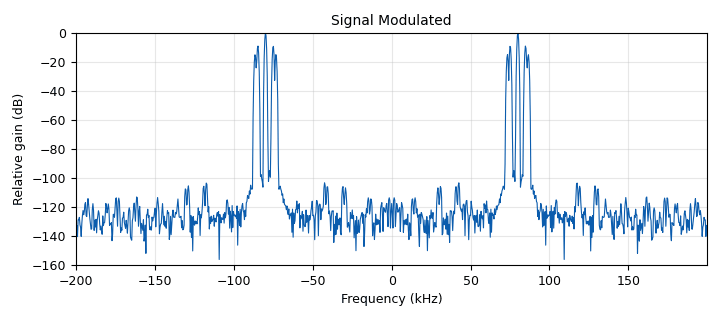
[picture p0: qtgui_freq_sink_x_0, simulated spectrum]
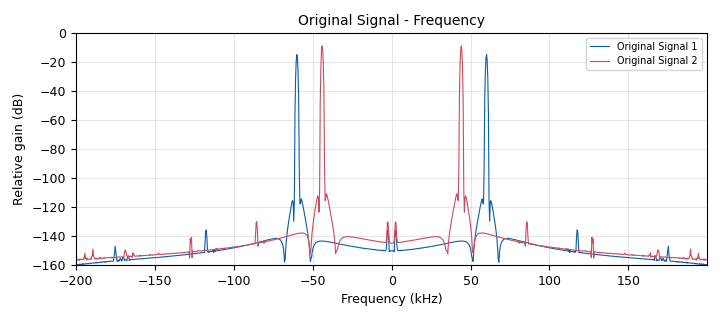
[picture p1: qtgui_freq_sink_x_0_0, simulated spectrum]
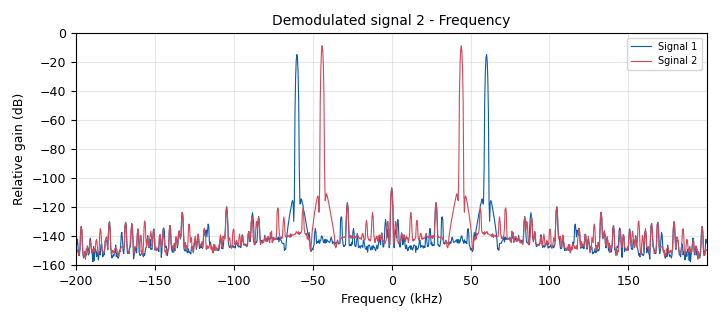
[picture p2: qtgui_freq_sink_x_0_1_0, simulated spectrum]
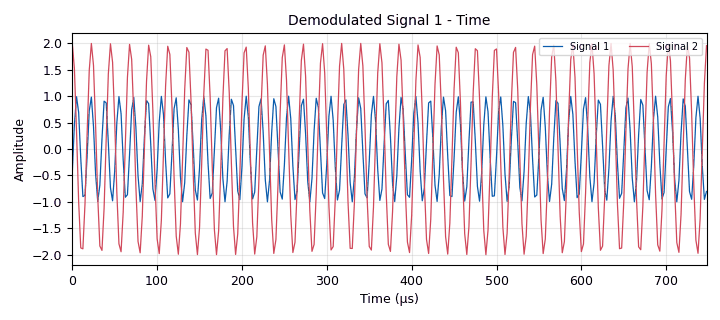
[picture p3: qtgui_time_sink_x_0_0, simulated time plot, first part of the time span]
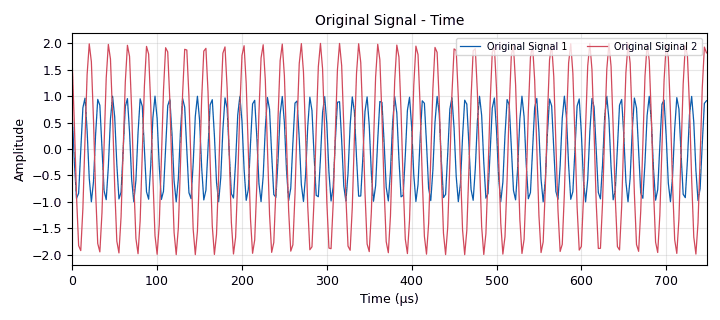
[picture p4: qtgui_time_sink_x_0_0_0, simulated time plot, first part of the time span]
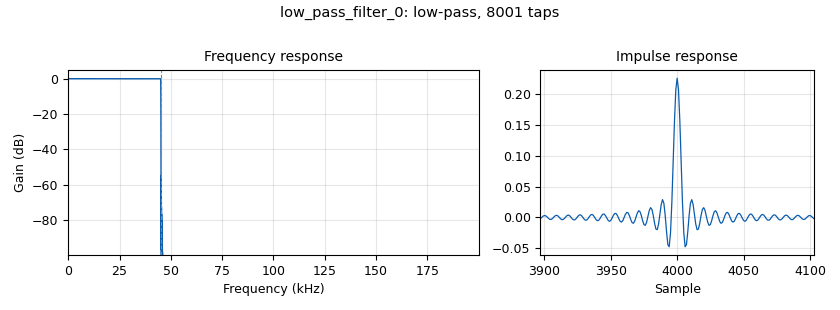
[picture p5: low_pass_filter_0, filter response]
<?xml version='1.0' encoding='utf-8'?>
<?grc format='1' created='3.7.9'?>
<flow_graph>
<block>
<key>options</key>
<param><key>id</key><value>loopback_qam</value></param>
<param><key>author</key><value>Hugo Soares</value></param>
<param><key>category</key><value>Custom</value></param>
<param><key>generate_options</key><value>qt_gui</value></param>
<param><key>title</key><value>"Loopback QAM Modulation"</value></param>
</block>
<block>
<key>variable</key>
<param><key>id</key><value>samp_rate</value></param>
<param><key>value</key><value>400000</value></param>
</block>
<block>
<key>analog_sig_source_x</key>
<param><key>id</key><value>analog_sig_source_x_0</value></param>
<param><key>amp</key><value>2</value></param>
<param><key>freq</key><value>0</value></param>
<param><key>offset</key><value>0</value></param>
<param><key>type</key><value>float</value></param>
<param><key>samp_rate</key><value>samp_rate</value></param>
<param><key>waveform</key><value>analog.GR_COS_WAVE</value></param>
</block>
<block>
<key>analog_sig_source_x</key>
<param><key>id</key><value>analog_sig_source_x_0_0</value></param>
<param><key>amp</key><value>2</value></param>
<param><key>freq</key><value>0</value></param>
<param><key>offset</key><value>0</value></param>
<param><key>type</key><value>float</value></param>
<param><key>samp_rate</key><value>samp_rate</value></param>
<param><key>waveform</key><value>analog.GR_COS_WAVE</value></param>
</block>
<block>
<key>analog_sig_source_x</key>
<param><key>id</key><value>analog_sig_source_x_1</value></param>
<param><key>amp</key><value>2</value></param>
<param><key>freq</key><value>80000</value></param>
<param><key>offset</key><value>0</value></param>
<param><key>type</key><value>float</value></param>
<param><key>samp_rate</key><value>samp_rate</value></param>
<param><key>waveform</key><value>analog.GR_COS_WAVE</value></param>
</block>
<block>
<key>analog_sig_source_x</key>
<param><key>id</key><value>analog_sig_source_x_1_0</value></param>
<param><key>amp</key><value>2</value></param>
<param><key>freq</key><value>80000</value></param>
<param><key>offset</key><value>0</value></param>
<param><key>type</key><value>float</value></param>
<param><key>samp_rate</key><value>samp_rate</value></param>
<param><key>waveform</key><value>analog.GR_SIN_WAVE</value></param>
</block>
<block>
<key>analog_sig_source_x</key>
<param><key>id</key><value>analog_sig_source_x_1_0_0</value></param>
<param><key>amp</key><value>1</value></param>
<param><key>freq</key><value>80000</value></param>
<param><key>offset</key><value>0</value></param>
<param><key>type</key><value>float</value></param>
<param><key>samp_rate</key><value>samp_rate</value></param>
<param><key>waveform</key><value>analog.GR_SIN_WAVE</value></param>
</block>
<block>
<key>analog_sig_source_x</key>
<param><key>id</key><value>analog_sig_source_x_1_1</value></param>
<param><key>amp</key><value>1</value></param>
<param><key>freq</key><value>80000</value></param>
<param><key>offset</key><value>0</value></param>
<param><key>type</key><value>float</value></param>
<param><key>samp_rate</key><value>samp_rate</value></param>
<param><key>waveform</key><value>analog.GR_COS_WAVE</value></param>
</block>
<block>
<key>analog_sig_source_x</key>
<param><key>id</key><value>analog_sig_source_x_1_2</value></param>
<param><key>amp</key><value>2</value></param>
<param><key>freq</key><value>44100</value></param>
<param><key>offset</key><value>0</value></param>
<param><key>type</key><value>float</value></param>
<param><key>samp_rate</key><value>samp_rate</value></param>
<param><key>waveform</key><value>analog.GR_COS_WAVE</value></param>
</block>
<block>
<key>analog_sig_source_x</key>
<param><key>id</key><value>analog_sig_source_x_1_2_0</value></param>
<param><key>amp</key><value>1</value></param>
<param><key>freq</key><value>60100</value></param>
<param><key>offset</key><value>0</value></param>
<param><key>type</key><value>float</value></param>
<param><key>samp_rate</key><value>samp_rate</value></param>
<param><key>waveform</key><value>analog.GR_COS_WAVE</value></param>
</block>
<block>
<key>blocks_add_const_vxx</key>
<param><key>id</key><value>blocks_add_const_vxx_0</value></param>
<param><key>const</key><value>-2</value></param>
<param><key>type</key><value>float</value></param>
</block>
<block>
<key>blocks_add_const_vxx</key>
<param><key>id</key><value>blocks_add_const_vxx_0_0</value></param>
<param><key>const</key><value>-2</value></param>
<param><key>type</key><value>float</value></param>
</block>
<block>
<key>blocks_add_xx</key>
<param><key>id</key><value>blocks_add_xx_0</value></param>
<param><key>type</key><value>float</value></param>
</block>
<block>
<key>blocks_add_xx</key>
<param><key>id</key><value>blocks_add_xx_0_0</value></param>
<param><key>type</key><value>float</value></param>
</block>
<block>
<key>blocks_add_xx</key>
<param><key>id</key><value>blocks_add_xx_0_1</value></param>
<param><key>type</key><value>float</value></param>
</block>
<block>
<key>blocks_multiply_xx</key>
<param><key>id</key><value>blocks_multiply_xx_0</value></param>
<param><key>type</key><value>float</value></param>
</block>
<block>
<key>blocks_multiply_xx</key>
<param><key>id</key><value>blocks_multiply_xx_0_0</value></param>
<param><key>type</key><value>float</value></param>
</block>
<block>
<key>blocks_multiply_xx</key>
<param><key>id</key><value>blocks_multiply_xx_0_0_0</value></param>
<param><key>type</key><value>float</value></param>
</block>
<block>
<key>blocks_multiply_xx</key>
<param><key>id</key><value>blocks_multiply_xx_0_0_0_0</value></param>
<param><key>type</key><value>float</value></param>
</block>
<block>
<key>blocks_throttle</key>
<param><key>id</key><value>blocks_throttle_0</value></param>
<param><key>samples_per_second</key><value>samp_rate</value></param>
<param><key>type</key><value>float</value></param>
</block>
<block>
<key>qtgui_tab_widget</key>
<param><key>id</key><value>janela</value></param>
<param><key>label0</key><value>Original Signal</value></param>
<param><key>label1</key><value>Demodulated Signal</value></param>
<param><key>label2</key><value>QAM Signal</value></param>
<param><key>num_tabs</key><value>3</value></param>
</block>
<block>
<key>low_pass_filter</key>
<param><key>id</key><value>low_pass_filter_0</value></param>
<param><key>cutoff_freq</key><value>45.1e3</value></param>
<param><key>decim</key><value>1</value></param>
<param><key>type</key><value>fir_filter_fff</value></param>
<param><key>gain</key><value>1</value></param>
<param><key>samp_rate</key><value>samp_rate</value></param>
<param><key>width</key><value>100</value></param>
<param><key>win</key><value>firdes.WIN_HANN</value></param>
</block>
<block>
<key>low_pass_filter</key>
<param><key>id</key><value>low_pass_filter_0_0</value></param>
<param><key>cutoff_freq</key><value>45.1e3</value></param>
<param><key>decim</key><value>1</value></param>
<param><key>type</key><value>fir_filter_fff</value></param>
<param><key>gain</key><value>1</value></param>
<param><key>samp_rate</key><value>samp_rate</value></param>
<param><key>width</key><value>100</value></param>
<param><key>win</key><value>firdes.WIN_HANN</value></param>
</block>
<block>
<key>qtgui_freq_sink_x</key>
<param><key>id</key><value>qtgui_freq_sink_x_0</value></param>
<param><key>bw</key><value>samp_rate</value></param>
<param><key>fc</key><value>0</value></param>
<param><key>fftsize</key><value>1024</value></param>
<param><key>gui_hint</key><value>janela@2</value></param>
<param><key>color1</key><value>"green"</value></param>
<param><key>name</key><value>"Signal Modulated"</value></param>
<param><key>showports</key><value>True</value></param>
<param><key>type</key><value>float</value></param>
<param><key>wintype</key><value>firdes.WIN_BLACKMAN_hARRIS</value></param>
<param><key>ymax</key><value>0</value></param>
<param><key>ymin</key><value>-160</value></param>
</block>
<block>
<key>qtgui_freq_sink_x</key>
<param><key>id</key><value>qtgui_freq_sink_x_0_0</value></param>
<param><key>average</key><value>0.1</value></param>
<param><key>bw</key><value>samp_rate</value></param>
<param><key>fc</key><value>0</value></param>
<param><key>fftsize</key><value>1024</value></param>
<param><key>gui_hint</key><value>janela@0</value></param>
<param><key>label1</key><value>Original Signal 1</value></param>
<param><key>label2</key><value>Original Signal 2</value></param>
<param><key>name</key><value>"Original Signal - Frequency"</value></param>
<param><key>nconnections</key><value>2</value></param>
<param><key>showports</key><value>True</value></param>
<param><key>type</key><value>float</value></param>
<param><key>wintype</key><value>firdes.WIN_BLACKMAN_hARRIS</value></param>
<param><key>ymax</key><value>0</value></param>
<param><key>ymin</key><value>-160</value></param>
</block>
<block>
<key>qtgui_freq_sink_x</key>
<param><key>id</key><value>qtgui_freq_sink_x_0_1_0</value></param>
<param><key>average</key><value>0.05</value></param>
<param><key>bw</key><value>samp_rate</value></param>
<param><key>fc</key><value>0</value></param>
<param><key>fftsize</key><value>1024</value></param>
<param><key>gui_hint</key><value>janela@1</value></param>
<param><key>label1</key><value>Signal 1</value></param>
<param><key>label2</key><value>Sginal 2</value></param>
<param><key>name</key><value>"Demodulated signal 2 - Frequency"</value></param>
<param><key>nconnections</key><value>2</value></param>
<param><key>showports</key><value>True</value></param>
<param><key>type</key><value>float</value></param>
<param><key>wintype</key><value>firdes.WIN_BLACKMAN_hARRIS</value></param>
<param><key>ymax</key><value>0</value></param>
<param><key>ymin</key><value>-160</value></param>
</block>
<block>
<key>qtgui_time_sink_x</key>
<param><key>id</key><value>qtgui_time_sink_x_0_0</value></param>
<param><key>autoscale</key><value>True</value></param>
<param><key>gui_hint</key><value>janela@1</value></param>
<param><key>color1</key><value>"blue"</value></param>
<param><key>style1</key><value>2</value></param>
<param><key>color2</key><value>"red"</value></param>
<param><key>label2</key><value>Siginal 2</value></param>
<param><key>name</key><value>"Demodulated Signal 1 - Time"</value></param>
<param><key>nconnections</key><value>2</value></param>
<param><key>size</key><value>1024</value></param>
<param><key>srate</key><value>samp_rate</value></param>
<param><key>type</key><value>float</value></param>
<param><key>ymax</key><value>4</value></param>
</block>
<block>
<key>qtgui_time_sink_x</key>
<param><key>id</key><value>qtgui_time_sink_x_0_0_0</value></param>
<param><key>autoscale</key><value>True</value></param>
<param><key>gui_hint</key><value>janela@0</value></param>
<param><key>color1</key><value>"blue"</value></param>
<param><key>label1</key><value>Original Signal 1</value></param>
<param><key>style1</key><value>2</value></param>
<param><key>color2</key><value>"red"</value></param>
<param><key>label2</key><value>Original Siginal 2</value></param>
<param><key>name</key><value>"Original Signal - Time"</value></param>
<param><key>nconnections</key><value>2</value></param>
<param><key>size</key><value>1024</value></param>
<param><key>srate</key><value>samp_rate</value></param>
<param><key>type</key><value>float</value></param>
<param><key>ymax</key><value>2</value></param>
<param><key>ymin</key><value>-2</value></param>
</block>
<block>
<key>rational_resampler_xxx</key>
<param><key>id</key><value>rational_resampler_xxx_0</value></param>
<param><key>decim</key><value>441</value></param>
<param><key>interp</key><value>4000</value></param>
<param><key>taps</key><value></value></param>
<param><key>type</key><value>fff</value></param>
</block>
<block>
<key>rational_resampler_xxx</key>
<param><key>id</key><value>rational_resampler_xxx_0_0</value></param>
<param><key>decim</key><value>441</value></param>
<param><key>interp</key><value>4000</value></param>
<param><key>taps</key><value></value></param>
<param><key>type</key><value>fff</value></param>
</block>
<block>
<key>rational_resampler_xxx</key>
<param><key>id</key><value>rational_resampler_xxx_1</value></param>
<param><key>decim</key><value>4000</value></param>
<param><key>interp</key><value>441</value></param>
<param><key>taps</key><value></value></param>
<param><key>type</key><value>fff</value></param>
</block>
<block>
<key>rational_resampler_xxx</key>
<param><key>id</key><value>rational_resampler_xxx_1_0</value></param>
<param><key>decim</key><value>4000</value></param>
<param><key>interp</key><value>441</value></param>
<param><key>taps</key><value></value></param>
<param><key>type</key><value>fff</value></param>
</block>
<connection><source_block_id>analog_sig_source_x_0</source_block_id><sink_block_id>blocks_add_xx_0</sink_block_id><source_key>0</source_key><sink_key>1</sink_key></connection>
<connection><source_block_id>analog_sig_source_x_0_0</source_block_id><sink_block_id>blocks_add_xx_0_0</sink_block_id><source_key>0</source_key><sink_key>1</sink_key></connection>
<connection><source_block_id>analog_sig_source_x_1</source_block_id><sink_block_id>blocks_multiply_xx_0</sink_block_id><source_key>0</source_key><sink_key>1</sink_key></connection>
<connection><source_block_id>analog_sig_source_x_1_0</source_block_id><sink_block_id>blocks_multiply_xx_0_0</sink_block_id><source_key>0</source_key><sink_key>1</sink_key></connection>
<connection><source_block_id>analog_sig_source_x_1_0_0</source_block_id><sink_block_id>blocks_multiply_xx_0_0_0_0</sink_block_id><source_key>0</source_key><sink_key>0</sink_key></connection>
<connection><source_block_id>analog_sig_source_x_1_1</source_block_id><sink_block_id>blocks_multiply_xx_0_0_0</sink_block_id><source_key>0</source_key><sink_key>0</sink_key></connection>
<connection><source_block_id>analog_sig_source_x_1_2</source_block_id><sink_block_id>qtgui_freq_sink_x_0_0</sink_block_id><source_key>0</source_key><sink_key>1</sink_key></connection>
<connection><source_block_id>analog_sig_source_x_1_2</source_block_id><sink_block_id>qtgui_time_sink_x_0_0_0</sink_block_id><source_key>0</source_key><sink_key>1</sink_key></connection>
<connection><source_block_id>analog_sig_source_x_1_2</source_block_id><sink_block_id>rational_resampler_xxx_0</sink_block_id><source_key>0</source_key><sink_key>0</sink_key></connection>
<connection><source_block_id>analog_sig_source_x_1_2_0</source_block_id><sink_block_id>qtgui_freq_sink_x_0_0</sink_block_id><source_key>0</source_key><sink_key>0</sink_key></connection>
<connection><source_block_id>analog_sig_source_x_1_2_0</source_block_id><sink_block_id>qtgui_time_sink_x_0_0_0</sink_block_id><source_key>0</source_key><sink_key>0</sink_key></connection>
<connection><source_block_id>analog_sig_source_x_1_2_0</source_block_id><sink_block_id>rational_resampler_xxx_0_0</sink_block_id><source_key>0</source_key><sink_key>0</sink_key></connection>
<connection><source_block_id>blocks_add_const_vxx_0</source_block_id><sink_block_id>qtgui_freq_sink_x_0_1_0</sink_block_id><source_key>0</source_key><sink_key>1</sink_key></connection>
<connection><source_block_id>blocks_add_const_vxx_0</source_block_id><sink_block_id>qtgui_time_sink_x_0_0</sink_block_id><source_key>0</source_key><sink_key>1</sink_key></connection>
<connection><source_block_id>blocks_add_const_vxx_0_0</source_block_id><sink_block_id>qtgui_freq_sink_x_0_1_0</sink_block_id><source_key>0</source_key><sink_key>0</sink_key></connection>
<connection><source_block_id>blocks_add_const_vxx_0_0</source_block_id><sink_block_id>qtgui_time_sink_x_0_0</sink_block_id><source_key>0</source_key><sink_key>0</sink_key></connection>
<connection><source_block_id>blocks_add_xx_0</source_block_id><sink_block_id>blocks_multiply_xx_0</sink_block_id><source_key>0</source_key><sink_key>0</sink_key></connection>
<connection><source_block_id>blocks_add_xx_0_0</source_block_id><sink_block_id>blocks_multiply_xx_0_0</sink_block_id><source_key>0</source_key><sink_key>0</sink_key></connection>
<connection><source_block_id>blocks_add_xx_0_1</source_block_id><sink_block_id>blocks_throttle_0</sink_block_id><source_key>0</source_key><sink_key>0</sink_key></connection>
<connection><source_block_id>blocks_multiply_xx_0</source_block_id><sink_block_id>blocks_add_xx_0_1</sink_block_id><source_key>0</source_key><sink_key>0</sink_key></connection>
<connection><source_block_id>blocks_multiply_xx_0_0</source_block_id><sink_block_id>blocks_add_xx_0_1</sink_block_id><source_key>0</source_key><sink_key>1</sink_key></connection>
<connection><source_block_id>blocks_multiply_xx_0_0_0</source_block_id><sink_block_id>low_pass_filter_0</sink_block_id><source_key>0</source_key><sink_key>0</sink_key></connection>
<connection><source_block_id>blocks_multiply_xx_0_0_0_0</source_block_id><sink_block_id>low_pass_filter_0_0</sink_block_id><source_key>0</source_key><sink_key>0</sink_key></connection>
<connection><source_block_id>blocks_throttle_0</source_block_id><sink_block_id>blocks_multiply_xx_0_0_0</sink_block_id><source_key>0</source_key><sink_key>1</sink_key></connection>
<connection><source_block_id>blocks_throttle_0</source_block_id><sink_block_id>blocks_multiply_xx_0_0_0_0</sink_block_id><source_key>0</source_key><sink_key>1</sink_key></connection>
<connection><source_block_id>blocks_throttle_0</source_block_id><sink_block_id>qtgui_freq_sink_x_0</sink_block_id><source_key>0</source_key><sink_key>0</sink_key></connection>
<connection><source_block_id>low_pass_filter_0</source_block_id><sink_block_id>rational_resampler_xxx_1</sink_block_id><source_key>0</source_key><sink_key>0</sink_key></connection>
<connection><source_block_id>low_pass_filter_0_0</source_block_id><sink_block_id>rational_resampler_xxx_1_0</sink_block_id><source_key>0</source_key><sink_key>0</sink_key></connection>
<connection><source_block_id>rational_resampler_xxx_0</source_block_id><sink_block_id>blocks_add_xx_0</sink_block_id><source_key>0</source_key><sink_key>0</sink_key></connection>
<connection><source_block_id>rational_resampler_xxx_0_0</source_block_id><sink_block_id>blocks_add_xx_0_0</sink_block_id><source_key>0</source_key><sink_key>0</sink_key></connection>
<connection><source_block_id>rational_resampler_xxx_1</source_block_id><sink_block_id>blocks_add_const_vxx_0</sink_block_id><source_key>0</source_key><sink_key>0</sink_key></connection>
<connection><source_block_id>rational_resampler_xxx_1_0</source_block_id><sink_block_id>blocks_add_const_vxx_0_0</sink_block_id><source_key>0</source_key><sink_key>0</sink_key></connection>
</flow_graph>
